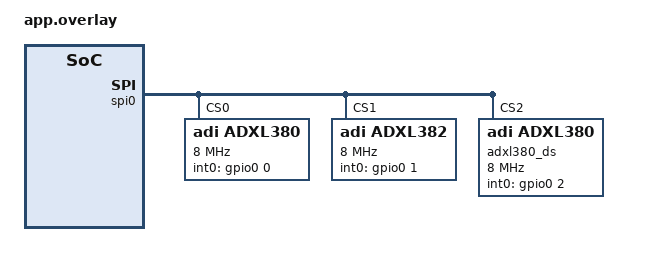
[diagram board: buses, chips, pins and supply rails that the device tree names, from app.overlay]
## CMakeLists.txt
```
# Copyright (c) 2026 Analog Devices Inc.
# SPDX-License-Identifier: Apache-2.0

cmake_minimum_required(VERSION 3.20.0)

find_package(Zephyr REQUIRED HINTS $ENV{ZEPHYR_BASE})
project(adxl38x_test)

target_sources(app PRIVATE
	src/test_init.c
	src/test_decoder.c
	src/test_regs.c
	src/test_convert.c
	src/test_attr.c
	src/test_activity.c
	src/test_pm.c
	src/adxl38x_emul.c
)

# src/ for the emulator header; the driver dir for the private adxl38x.h
# (fifo-data layout + decoder prototype) used by the decoder test.
target_include_directories(app PRIVATE
	src
	${ZEPHYR_BASE}/drivers/sensor/adi/adxl38x
)
```

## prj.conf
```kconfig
# Copyright (c) 2026 Analog Devices Inc.
# SPDX-License-Identifier: Apache-2.0

CONFIG_ZTEST=y
CONFIG_SENSOR=y

# SPI + register-file emulator backend
CONFIG_SPI=y
CONFIG_EMUL=y
CONFIG_SPI_EMUL=y

# Trigger (GPIO interrupt) + RTIO FIFO streaming + decoder
CONFIG_GPIO=y
CONFIG_SENSOR_ASYNC_API=y
CONFIG_SPI_RTIO=y
CONFIG_ADXL38X_STREAM=y

# Power management (TC-PM-001)
CONFIG_PM_DEVICE=y

CONFIG_LOG=y
CONFIG_SENSOR_LOG_LEVEL_WRN=y
```

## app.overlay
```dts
/*
 * Copyright (c) 2026 Analog Devices Inc.
 *
 * SPDX-License-Identifier: Apache-2.0
 */

#include <zephyr/dt-bindings/gpio/gpio.h>
#include <zephyr/dt-bindings/sensor/adxl380.h>
#include <zephyr/dt-bindings/sensor/adxl382.h>

/* native_sim provides gpio0 (gpio_emul) for the trigger line. */
&gpio0 {
	status = "okay";
};

/* native_sim already provides spi0 as a zephyr,spi-emul-controller. */
&spi0 {
	status = "okay";

	adxl380: adxl380@0 {
		compatible = "adi,adxl380";
		reg = <0>;
		spi-max-frequency = <8000000>;
		range = <ADXL380_DT_RANGE_16G>;
		op-mode = <ADXL38X_DT_OP_HP>;
		fifo-watermark = <96>;
		hpf-corner = <ADXL38X_DT_HPF_OFF>;
		int-pol = <ADXL38X_DT_INT_POL_ACTIVE_HIGH>;
		int0-gpios = <&gpio0 0 GPIO_ACTIVE_HIGH>;
	};

	adxl382: adxl382@1 {
		compatible = "adi,adxl382";
		reg = <1>;
		spi-max-frequency = <8000000>;
		range = <ADXL382_DT_RANGE_30G>;
		op-mode = <ADXL38X_DT_OP_HP>;
		fifo-watermark = <96>;
		hpf-corner = <ADXL38X_DT_HPF_OFF>;
		int-pol = <ADXL38X_DT_INT_POL_ACTIVE_HIGH>;
		int0-gpios = <&gpio0 1 GPIO_ACTIVE_HIGH>;
	};

	/* ADXL380 with double-speed enabled, for TC-ATTR-003. */
	adxl380_ds: adxl380@2 {
		compatible = "adi,adxl380";
		reg = <2>;
		spi-max-frequency = <8000000>;
		range = <ADXL380_DT_RANGE_16G>;
		op-mode = <ADXL38X_DT_OP_HP>;
		double-speed = <ADXL38X_DT_DOUBLE_SPEED_ENABLED>;
		int0-gpios = <&gpio0 2 GPIO_ACTIVE_HIGH>;
	};
};
```

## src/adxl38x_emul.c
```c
/*
 * Copyright (c) 2026 Analog Devices Inc.
 *
 * SPDX-License-Identifier: Apache-2.0
 */

/*
 * Register-file SPI emulator backend for the ADXL380/ADXL382 Zephyr driver.
 *
 * The driver frames every access as a 1-byte command (addr << 1 | R/W) followed
 * by the data payload (see adxl38x_reg_access_spi()). This backend decodes that
 * framing against a flat 128-byte register array seeded with the device reset
 * values the driver verifies at init (DEVID_AD=0xAD, PART_ID=0x17,
 * DEVID_MST=0x1D). It binds to both adi,adxl380 and adi,adxl382 instances.
 */

#define DT_DRV_COMPAT adi_adxl380

#include <string.h>

#include <zephyr/device.h>
#include <zephyr/drivers/emul.h>
#include <zephyr/drivers/spi.h>
#include <zephyr/drivers/spi_emul.h>
#include <zephyr/logging/log.h>

#include "adxl38x_emul.h"

LOG_MODULE_REGISTER(adxl38x_emul, CONFIG_SENSOR_LOG_LEVEL);

#define ADXL38X_EMUL_NUM_REGS 0x80U

/* Register addresses and reset values the driver checks during init. */
#define ADXL38X_EMUL_REG_DEVID_AD  0x00U
#define ADXL38X_EMUL_REG_DEVID_MST 0x01U
#define ADXL38X_EMUL_REG_PART_ID   0x02U
#define ADXL38X_EMUL_VAL_DEVID_AD  0xADU
#define ADXL38X_EMUL_VAL_DEVID_MST 0x1DU
#define ADXL38X_EMUL_VAL_PART_ID   0x17U

struct adxl38x_emul_data {
	uint8_t reg[ADXL38X_EMUL_NUM_REGS];
};

uint8_t adxl38x_emul_get_reg(const struct emul *target, uint8_t reg)
{
	struct adxl38x_emul_data *data = target->data;

	if (reg >= ADXL38X_EMUL_NUM_REGS) {
		return 0U;
	}

	return data->reg[reg];
}

void adxl38x_emul_set_reg(const struct emul *target, uint8_t reg, uint8_t val)
{
	struct adxl38x_emul_data *data = target->data;

	if (reg < ADXL38X_EMUL_NUM_REGS) {
		data->reg[reg] = val;
	}
}

static int adxl38x_emul_io(const struct emul *target, const struct spi_config *config,
			   const struct spi_buf_set *tx_bufs, const struct spi_buf_set *rx_bufs)
{
	struct adxl38x_emul_data *data = target->data;
	const struct spi_buf *cmd_buf;
	const struct spi_buf *txd;
	const struct spi_buf *rxd;
	uint8_t cmd;
	uint8_t reg;
	bool read;

	ARG_UNUSED(config);

	/* The driver always issues: [cmd byte][payload] on TX, [skip][payload] on RX. */
	if (tx_bufs == NULL || tx_bufs->count < 2) {
		LOG_ERR("unexpected tx_bufs");
		return -EIO;
	}

	cmd_buf = &tx_bufs->buffers[0];
	txd = &tx_bufs->buffers[1];
	rxd = (rx_bufs != NULL) ? &rx_bufs->buffers[1] : NULL;

	if (cmd_buf->buf == NULL || cmd_buf->len != 1U) {
		LOG_ERR("unexpected command buffer");
		return -EIO;
	}

	cmd = ((const uint8_t *)cmd_buf->buf)[0];
	reg = cmd >> 1;
	read = (cmd & 0x01U) != 0U;

	if (read) {
		if (rxd == NULL || (rxd->len > 0U && rxd->buf == NULL)) {
			LOG_ERR("read without rx buffer");
			return -EIO;
		}
		for (size_t i = 0; i < rxd->len; i++) {
			uint8_t addr = reg + (uint8_t)i;

			((uint8_t *)rxd->buf)[i] =
				(addr < ADXL38X_EMUL_NUM_REGS) ? data->reg[addr] : 0U;
		}
	} else {
		if (txd->len == 0U) {
			return 0;
		}
		if (txd->buf == NULL) {
			LOG_ERR("write without tx payload");
			return -EIO;
		}
		for (size_t i = 0; i < txd->len; i++) {
			uint8_t addr = reg + (uint8_t)i;

			if (addr < ADXL38X_EMUL_NUM_REGS) {
				data->reg[addr] = ((const uint8_t *)txd->buf)[i];
			}
		}
	}

	return 0;
}

static const struct spi_emul_api adxl38x_emul_api = {
	.io = adxl38x_emul_io,
};

static int adxl38x_emul_init(const struct emul *target, const struct device *parent)
{
	struct adxl38x_emul_data *data = target->data;

	ARG_UNUSED(parent);

	memset(data->reg, 0, sizeof(data->reg));
	data->reg[ADXL38X_EMUL_REG_DEVID_AD] = ADXL38X_EMUL_VAL_DEVID_AD;
	data->reg[ADXL38X_EMUL_REG_DEVID_MST] = ADXL38X_EMUL_VAL_DEVID_MST;
	data->reg[ADXL38X_EMUL_REG_PART_ID] = ADXL38X_EMUL_VAL_PART_ID;

	return 0;
}

#define ADXL38X_EMUL_DEFINE(n, pfx)                                                                 \
	static struct adxl38x_emul_data adxl38x_emul_data_##pfx##_##n;                              \
	EMUL_DT_INST_DEFINE(n, adxl38x_emul_init, &adxl38x_emul_data_##pfx##_##n, NULL,             \
			    &adxl38x_emul_api, NULL)

/* adi,adxl380 instances */
#define ADXL380_EMUL_DEFINE(n) ADXL38X_EMUL_DEFINE(n, adxl380)
DT_INST_FOREACH_STATUS_OKAY(ADXL380_EMUL_DEFINE)

/* adi,adxl382 instances */
#undef DT_DRV_COMPAT
#define DT_DRV_COMPAT          adi_adxl382
#define ADXL382_EMUL_DEFINE(n) ADXL38X_EMUL_DEFINE(n, adxl382)
DT_INST_FOREACH_STATUS_OKAY(ADXL382_EMUL_DEFINE)
```

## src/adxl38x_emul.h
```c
/*
 * Copyright (c) 2026 Analog Devices Inc.
 *
 * SPDX-License-Identifier: Apache-2.0
 */

/*
 * Test-local register-file SPI emulator for the ADXL380/ADXL382 driver.
 * Exposes raw register peek/poke so tests can seed inputs and verify what the
 * driver wrote.
 */

#ifndef TESTS_DRIVERS_SENSOR_ADXL38X_EMUL_H_
#define TESTS_DRIVERS_SENSOR_ADXL38X_EMUL_H_

#include <stdint.h>
#include <zephyr/drivers/emul.h>

/** Return the current value of register @p reg in the emulator register file. */
uint8_t adxl38x_emul_get_reg(const struct emul *target, uint8_t reg);

/** Force register @p reg to @p val in the emulator register file. */
void adxl38x_emul_set_reg(const struct emul *target, uint8_t reg, uint8_t val);

#endif /* TESTS_DRIVERS_SENSOR_ADXL38X_EMUL_H_ */
```

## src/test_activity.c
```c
/*
 * Copyright (c) 2026 Analog Devices Inc.
 *
 * SPDX-License-Identifier: Apache-2.0
 */

/*
 * ADXL380/ADXL382 activity-detection tests (Track B, requirement group
 * SRS-F-ACT). Runs on native_sim and native_sim/native/64 against the
 * register-file SPI emulator.
 *
 * Covered here:
 *   TC-ACT-001  activity/inactivity threshold (m/s^2 -> SAR code) (SRS-F-ACT-001)
 *   TC-ACT-002  activity time (us -> 500 us ticks)                (SRS-F-ACT-002)
 *   TC-ACT-003  activity axis enable X/Y/Z                        (SRS-F-ACT-003)
 *
 * Threshold codes depend on the full-scale range, so the threshold test pins the
 * range to 16 g first. code = micro_ms2 * 2048 / (SENSOR_G * fsr_g); at 16 g a
 * 1 g threshold is exactly 128 codes and 8 g is exactly 1024 codes.
 */

#include <errno.h>

#include <zephyr/ztest.h>
#include <zephyr/device.h>
#include <zephyr/drivers/emul.h>
#include <zephyr/drivers/sensor.h>
#include <zephyr/sys/util.h>

#include "adxl38x.h"
#include "adxl38x_emul.h"

#define ADXL380_NODE DT_NODELABEL(adxl380)

static const struct device *const adxl380_dev = DEVICE_DT_GET(ADXL380_NODE);
static const struct emul *const adxl380_emul = EMUL_DT_GET(ADXL380_NODE);

static int attr_set(const struct device *dev, enum sensor_attribute attr, int32_t val1,
		    int32_t val2)
{
	struct sensor_value v = {.val1 = val1, .val2 = val2};

	return sensor_attr_set(dev, SENSOR_CHAN_ACCEL_XYZ, attr, &v);
}

/* TC-ACT-001: threshold in m/s^2 converts to an 11-bit SAR code split across
 * THRESH_*_H[2:0] and THRESH_*_L[7:0]; negative and over-range are rejected.
 */
ZTEST(adxl38x_activity, test_activity_threshold)
{
	/* Pin range to 16 g so the code arithmetic is deterministic. */
	zassert_ok(attr_set(adxl380_dev, SENSOR_ATTR_FULL_SCALE, ADXL380_RANGE_16G_FS, 0),
		   "range set failed");

	/* 1 g = 9.806650 m/s^2 -> code 128 (0x080): H = 0, L = 0x80. */
	zassert_ok(attr_set(adxl380_dev, SENSOR_ATTR_ADXL38X_ACTIVITY_THRESHOLD, 9, 806650),
		   "1 g activity threshold set failed");
	zassert_equal(adxl38x_emul_get_reg(adxl380_emul, ADXL38X_THRESH_ACT_H), 0,
		      "THRESH_ACT_H != 0");
	zassert_equal(adxl38x_emul_get_reg(adxl380_emul, ADXL38X_THRESH_ACT_L), 0x80,
		      "THRESH_ACT_L != 0x80");

	/* 8 g = 78.453200 m/s^2 -> code 1024 (0x400): H = 0x04, L = 0x00. */
	zassert_ok(attr_set(adxl380_dev, SENSOR_ATTR_ADXL38X_ACTIVITY_THRESHOLD, 78, 453200),
		   "8 g activity threshold set failed");
	zassert_equal(adxl38x_emul_get_reg(adxl380_emul, ADXL38X_THRESH_ACT_H), 0x04,
		      "THRESH_ACT_H != 0x04");
	zassert_equal(adxl38x_emul_get_reg(adxl380_emul, ADXL38X_THRESH_ACT_L), 0x00,
		      "THRESH_ACT_L != 0x00");

	/* Inactivity threshold uses its own register pair. */
	zassert_ok(attr_set(adxl380_dev, SENSOR_ATTR_ADXL38X_INACTIVITY_THRESHOLD, 9, 806650),
		   "1 g inactivity threshold set failed");
	zassert_equal(adxl38x_emul_get_reg(adxl380_emul, ADXL38X_THRESH_INACT_H), 0,
		      "THRESH_INACT_H != 0");
	zassert_equal(adxl38x_emul_get_reg(adxl380_emul, ADXL38X_THRESH_INACT_L), 0x80,
		      "THRESH_INACT_L != 0x80");

	/* Negative threshold and a code > 2047 (16 g -> 2048) are rejected. */
	zassert_equal(attr_set(adxl380_dev, SENSOR_ATTR_ADXL38X_ACTIVITY_THRESHOLD, -1, 0), -EINVAL,
		      "negative threshold should fail");
	zassert_equal(attr_set(adxl380_dev, SENSOR_ATTR_ADXL38X_ACTIVITY_THRESHOLD, 156, 906400),
		      -EINVAL, "over-range threshold should fail");
}

/* TC-ACT-002: activity time in microseconds converts to 500 us ticks across the
 * 24-bit TIME_ACT register triple; negative and over-range are rejected.
 */
ZTEST(adxl38x_activity, test_activity_time)
{
	/* 500000 us / 500 = 1000 ticks (0x0003E8): H = 0, M = 0x03, L = 0xE8. */
	zassert_ok(attr_set(adxl380_dev, SENSOR_ATTR_ADXL38X_ACTIVITY_TIME, 0, 500000),
		   "activity time set failed");
	zassert_equal(adxl38x_emul_get_reg(adxl380_emul, ADXL38X_TIME_ACT_H), 0x00,
		      "TIME_ACT_H != 0");
	zassert_equal(adxl38x_emul_get_reg(adxl380_emul, ADXL38X_TIME_ACT_M), 0x03,
		      "TIME_ACT_M != 0x03");
	zassert_equal(adxl38x_emul_get_reg(adxl380_emul, ADXL38X_TIME_ACT_L), 0xE8,
		      "TIME_ACT_L != 0xE8");

	/* Negative time rejected. */
	zassert_equal(attr_set(adxl380_dev, SENSOR_ATTR_ADXL38X_ACTIVITY_TIME, -1, 0), -EINVAL,
		      "negative activity time should fail");

	/* 8388608000 us / 500 = 16777216 ticks > 24-bit max -> rejected. */
	zassert_equal(attr_set(adxl380_dev, SENSOR_ATTR_ADXL38X_ACTIVITY_TIME, 8388, 608000),
		      -EINVAL, "over-range activity time should fail");
}

/* TC-ACT-003: each axis-enable attribute toggles its SNSR_AXIS_EN bit. */
ZTEST(adxl38x_activity, test_activity_axis_enable)
{
	static const struct {
		enum sensor_attribute attr;
		uint8_t bit;
	} axes[] = {
		{SENSOR_ATTR_ADXL38X_ACTIVITY_ENABLE_X, BIT(0)},
		{SENSOR_ATTR_ADXL38X_ACTIVITY_ENABLE_Y, BIT(1)},
		{SENSOR_ATTR_ADXL38X_ACTIVITY_ENABLE_Z, BIT(2)},
	};

	for (size_t i = 0; i < ARRAY_SIZE(axes); i++) {
		zassert_ok(attr_set(adxl380_dev, axes[i].attr, 1, 0), "axis %u enable failed", i);
		zassert_true((adxl38x_emul_get_reg(adxl380_emul, ADXL38X_SNSR_AXIS_EN) & axes[i].bit) !=
				     0,
			     "axis %u enable bit not set", i);

		zassert_ok(attr_set(adxl380_dev, axes[i].attr, 0, 0), "axis %u disable failed", i);
		zassert_equal(adxl38x_emul_get_reg(adxl380_emul, ADXL38X_SNSR_AXIS_EN) & axes[i].bit, 0,
			      "axis %u enable bit not cleared", i);
	}
}

ZTEST_SUITE(adxl38x_activity, NULL, NULL, NULL, NULL, NULL);
```

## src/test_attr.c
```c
/*
 * Copyright (c) 2026 Analog Devices Inc.
 *
 * SPDX-License-Identifier: Apache-2.0
 */

/*
 * ADXL380/ADXL382 attribute tests (Track B, requirement group SRS-F-ATTR).
 * Runs on native_sim and native_sim/native/64 against the register-file SPI
 * emulator, driving the public sensor_attr_set()/sensor_attr_get() API and
 * checking both the returned values and the register bytes the driver wrote.
 *
 * Covered here:
 *   TC-ATTR-001  ODR get/set in DSM mode (sinc_rate / dec2x_bypass) (SRS-F-ATTR-001)
 *   TC-ATTR-002  ODR rejected in SAR mode                           (SRS-F-ATTR-002)
 *   TC-ATTR-003  double-speed ODR multiplier (ADXL380 only)         (SRS-F-ATTR-003)
 *   TC-ATTR-004  full-scale range get/set, per-part validation      (SRS-F-ATTR-004)
 *   TC-ATTR-005  OP_MODE get/set                                    (SRS-F-ATTR-005)
 *   TC-ATTR-006  FIFO watermark                                     (SRS-F-ATTR-006)
 *   TC-ATTR-007  HPF corner                                         (SRS-F-ATTR-007)
 *   TC-ATTR-008  INT polarity                                       (SRS-F-ATTR-008)
 *   TC-ATTR-009  attr_set standby-wrap restore (incl. error path)   (SRS-F-ATTR-009)
 *
 * Each test establishes its own preconditions (op-mode / range), because the
 * device and emulator state persist across tests in a single ztest run.
 *
 * Note on TC-ATTR-009: this exercises the deterministic half of the finding --
 * that attr_set restores the operating mode after both a successful and a failed
 * set, instead of leaving the device stuck in standby. The BUG-002 data race
 * (reconfigure concurrent with an active FIFO stream) is not deterministically
 * reproducible in a single-threaded unit test and is covered on the HW track.
 */

#include <errno.h>

#include <zephyr/ztest.h>
#include <zephyr/device.h>
#include <zephyr/drivers/emul.h>
#include <zephyr/drivers/sensor.h>
#include <zephyr/sys/util.h>

/* Private driver header: register addresses/masks, op-mode enum, DT macros and
 * the SENSOR_ATTR_ADXL38X_* attribute enum (included transitively).
 */
#include "adxl38x.h"
#include "adxl38x_emul.h"

#define ADXL380_NODE    DT_NODELABEL(adxl380)
#define ADXL382_NODE    DT_NODELABEL(adxl382)
#define ADXL380_DS_NODE DT_NODELABEL(adxl380_ds)

static const struct device *const adxl380_dev = DEVICE_DT_GET(ADXL380_NODE);
static const struct device *const adxl382_dev = DEVICE_DT_GET(ADXL382_NODE);
static const struct device *const adxl380_ds_dev = DEVICE_DT_GET(ADXL380_DS_NODE);
static const struct emul *const adxl380_emul = EMUL_DT_GET(ADXL380_NODE);

static int attr_set_i(const struct device *dev, enum sensor_attribute attr, int32_t val1)
{
	struct sensor_value v = {.val1 = val1, .val2 = 0};

	return sensor_attr_set(dev, SENSOR_CHAN_ACCEL_XYZ, attr, &v);
}

static int32_t attr_get_i(const struct device *dev, enum sensor_attribute attr)
{
	struct sensor_value v = {0};

	zassert_ok(sensor_attr_get(dev, SENSOR_CHAN_ACCEL_XYZ, attr, &v), "attr_get %d failed", attr);
	return v.val1;
}

static void set_op_mode(const struct device *dev, int32_t mode)
{
	zassert_ok(attr_set_i(dev, SENSOR_ATTR_ADXL38X_OP_MODE, mode), "op-mode %d set failed", mode);
}

/* TC-ATTR-001: in a DSM mode the ODR maps to the sinc_rate / dec2x_bypass bits
 * of TRIG_CFG, and get returns the effective rate. ADXL380 HP base = 8000 Hz.
 */
ZTEST(adxl38x_attr, test_odr_dsm_roundtrip)
{
	uint8_t trig;

	set_op_mode(adxl380_dev, ADXL38X_HP_MODE);

	/* 16000 Hz = base x2 -> DEC2X_BYPASS set, SINC_RATE clear. */
	zassert_ok(attr_set_i(adxl380_dev, SENSOR_ATTR_SAMPLING_FREQUENCY, 16000),
		   "set 16000 failed");
	trig = adxl38x_emul_get_reg(adxl380_emul, ADXL38X_TRIG_CFG);
	zassert_true((trig & ADXL38X_TRIG_CFG_DEC_2X_BYPASS_MSK) != 0, "DEC2X not set (0x%02x)", trig);
	zassert_true((trig & ADXL38X_TRIG_CFG_SINC_RATE_MSK) == 0, "SINC set (0x%02x)", trig);
	zassert_equal(attr_get_i(adxl380_dev, SENSOR_ATTR_SAMPLING_FREQUENCY), 16000, "get != 16000");

	/* 32000 Hz = base x4 -> SINC_RATE set, DEC2X_BYPASS clear. */
	zassert_ok(attr_set_i(adxl380_dev, SENSOR_ATTR_SAMPLING_FREQUENCY, 32000),
		   "set 32000 failed");
	trig = adxl38x_emul_get_reg(adxl380_emul, ADXL38X_TRIG_CFG);
	zassert_true((trig & ADXL38X_TRIG_CFG_SINC_RATE_MSK) != 0, "SINC not set (0x%02x)", trig);
	zassert_true((trig & ADXL38X_TRIG_CFG_DEC_2X_BYPASS_MSK) == 0, "DEC2X set (0x%02x)", trig);
	zassert_equal(attr_get_i(adxl380_dev, SENSOR_ATTR_SAMPLING_FREQUENCY), 32000, "get != 32000");

	/* 8000 Hz = base -> both bits clear. */
	zassert_ok(attr_set_i(adxl380_dev, SENSOR_ATTR_SAMPLING_FREQUENCY, 8000), "set 8000 failed");
	trig = adxl38x_emul_get_reg(adxl380_emul, ADXL38X_TRIG_CFG);
	zassert_true((trig & (ADXL38X_TRIG_CFG_SINC_RATE_MSK | ADXL38X_TRIG_CFG_DEC_2X_BYPASS_MSK)) ==
			     0,
		     "ODR bits not cleared (0x%02x)", trig);
	zassert_equal(attr_get_i(adxl380_dev, SENSOR_ATTR_SAMPLING_FREQUENCY), 8000, "get != 8000");

	/* Unsupported rate for the mode. */
	zassert_equal(attr_set_i(adxl380_dev, SENSOR_ATTR_SAMPLING_FREQUENCY, 9999), -EINVAL,
		      "9999 Hz should be rejected");
}

/* TC-ATTR-002: ODR is fixed in a SAR mode, so set must report -ENOTSUP. */
ZTEST(adxl38x_attr, test_odr_rejected_in_sar)
{
	set_op_mode(adxl380_dev, ADXL38X_ULTRA_LP_MODE);
	zassert_equal(attr_set_i(adxl380_dev, SENSOR_ATTR_SAMPLING_FREQUENCY, 50), -ENOTSUP,
		      "ODR set in SAR mode should be -ENOTSUP");

	/* Restore a DSM mode for later tests. */
	set_op_mode(adxl380_dev, ADXL38X_HP_MODE);
}

/* TC-ATTR-003: double-speed doubles the effective ODR on the ADXL380 only. */
ZTEST(adxl38x_attr, test_double_speed_odr)
{
	zassert_true(device_is_ready(adxl380_ds_dev), "double-speed node not ready");

	/* Plain ADXL380 at HP base = 8000 Hz. */
	set_op_mode(adxl380_dev, ADXL38X_HP_MODE);
	zassert_ok(attr_set_i(adxl380_dev, SENSOR_ATTR_SAMPLING_FREQUENCY, 8000), "base set failed");
	zassert_equal(attr_get_i(adxl380_dev, SENSOR_ATTR_SAMPLING_FREQUENCY), 8000,
		      "plain ADXL380 ODR != 8000");

	/* Double-speed ADXL380 at HP = 8000 x2 = 16000 Hz. */
	zassert_equal(attr_get_i(adxl380_ds_dev, SENSOR_ATTR_SAMPLING_FREQUENCY), 16000,
		      "double-speed ADXL380 ODR != 16000");

	/* ADXL382 HP base is 16000 Hz; the multiplier never applies to it. */
	set_op_mode(adxl382_dev, ADXL38X_HP_MODE);
	zassert_equal(attr_get_i(adxl382_dev, SENSOR_ATTR_SAMPLING_FREQUENCY), 16000,
		      "ADXL382 ODR != 16000");
}

/* TC-ATTR-004: full-scale range round-trips per part; invalid g is rejected. */
ZTEST(adxl38x_attr, test_range_roundtrip)
{
	zassert_ok(attr_set_i(adxl380_dev, SENSOR_ATTR_FULL_SCALE, ADXL380_RANGE_8G_FS),
		   "380 8g set failed");
	zassert_equal(attr_get_i(adxl380_dev, SENSOR_ATTR_FULL_SCALE), ADXL380_RANGE_8G_FS,
		      "380 range get != 8g");
	zassert_ok(attr_set_i(adxl380_dev, SENSOR_ATTR_FULL_SCALE, ADXL380_RANGE_16G_FS),
		   "380 16g set failed");
	zassert_equal(attr_get_i(adxl380_dev, SENSOR_ATTR_FULL_SCALE), ADXL380_RANGE_16G_FS,
		      "380 range get != 16g");
	zassert_equal(attr_set_i(adxl380_dev, SENSOR_ATTR_FULL_SCALE, 5), -EINVAL,
		      "invalid 380 range should fail");

	zassert_ok(attr_set_i(adxl382_dev, SENSOR_ATTR_FULL_SCALE, ADXL382_RANGE_30G_FS),
		   "382 30g set failed");
	zassert_equal(attr_get_i(adxl382_dev, SENSOR_ATTR_FULL_SCALE), ADXL382_RANGE_30G_FS,
		      "382 range get != 30g");
	zassert_equal(attr_set_i(adxl382_dev, SENSOR_ATTR_FULL_SCALE, 10), -EINVAL,
		      "invalid 382 range should fail");
}

/* TC-ATTR-005: operating mode round-trips; an undefined mode is rejected. */
ZTEST(adxl38x_attr, test_op_mode_roundtrip)
{
	set_op_mode(adxl380_dev, ADXL38X_HP_MODE);
	zassert_equal(attr_get_i(adxl380_dev, SENSOR_ATTR_ADXL38X_OP_MODE), ADXL38X_HP_MODE,
		      "op-mode get != HP");
	zassert_equal(adxl38x_emul_get_reg(adxl380_emul, ADXL38X_OP_MODE) & ADXL38X_OP_MODE_MSK,
		      ADXL38X_HP_MODE, "OP_MODE register field != HP");

	set_op_mode(adxl380_dev, ADXL38X_ULTRA_LP_MODE);
	zassert_equal(attr_get_i(adxl380_dev, SENSOR_ATTR_ADXL38X_OP_MODE), ADXL38X_ULTRA_LP_MODE,
		      "op-mode get != ULP");
	zassert_equal(adxl38x_emul_get_reg(adxl380_emul, ADXL38X_OP_MODE) & ADXL38X_OP_MODE_MSK,
		      ADXL38X_ULTRA_LP_MODE, "OP_MODE register field != ULP");

	/* 5 is not a defined op-mode (reserved gap in the enum). */
	zassert_equal(attr_set_i(adxl380_dev, SENSOR_ATTR_ADXL38X_OP_MODE, 5), -EINVAL,
		      "undefined op-mode should fail");

	set_op_mode(adxl380_dev, ADXL38X_HP_MODE);
}

/* TC-ATTR-006: FIFO watermark splits across FIFO_CFG0[8] / FIFO_CFG1[7:0]; the
 * value must be non-zero, <= 320 and a multiple of 4.
 */
ZTEST(adxl38x_attr, test_fifo_watermark)
{
	zassert_ok(attr_set_i(adxl380_dev, SENSOR_ATTR_ADXL38X_FIFO_WATERMARK, 96),
		   "watermark 96 set failed");
	zassert_equal(attr_get_i(adxl380_dev, SENSOR_ATTR_ADXL38X_FIFO_WATERMARK), 96,
		      "watermark get != 96");
	zassert_equal(adxl38x_emul_get_reg(adxl380_emul, ADXL38X_FIFO_CFG1), 96,
		      "FIFO_CFG1 low byte != 96");
	zassert_equal(adxl38x_emul_get_reg(adxl380_emul, ADXL38X_FIFO_CFG0) &
			      ADXL38X_FIFO_CFG0_SAMPLES_8_MSK,
		      0, "FIFO_CFG0 high bit set unexpectedly");

	/* 320 = 0x140: high bit in FIFO_CFG0, 0x40 in FIFO_CFG1. */
	zassert_ok(attr_set_i(adxl380_dev, SENSOR_ATTR_ADXL38X_FIFO_WATERMARK, 320),
		   "watermark 320 set failed");
	zassert_equal(adxl38x_emul_get_reg(adxl380_emul, ADXL38X_FIFO_CFG1), 0x40,
		      "FIFO_CFG1 low byte != 0x40");
	zassert_true((adxl38x_emul_get_reg(adxl380_emul, ADXL38X_FIFO_CFG0) &
		      ADXL38X_FIFO_CFG0_SAMPLES_8_MSK) != 0,
		     "FIFO_CFG0 high bit not set");

	zassert_equal(attr_set_i(adxl380_dev, SENSOR_ATTR_ADXL38X_FIFO_WATERMARK, 0), -EINVAL,
		      "watermark 0 should fail");
	zassert_equal(attr_set_i(adxl380_dev, SENSOR_ATTR_ADXL38X_FIFO_WATERMARK, 324), -EINVAL,
		      "watermark > 320 should fail");
	zassert_equal(attr_set_i(adxl380_dev, SENSOR_ATTR_ADXL38X_FIFO_WATERMARK, 97), -EINVAL,
		      "watermark not multiple of 4 should fail");
}

/* TC-ATTR-007: HPF corner round-trips; out-of-range is rejected. */
ZTEST(adxl38x_attr, test_hpf_corner)
{
	zassert_ok(attr_set_i(adxl380_dev, SENSOR_ATTR_ADXL38X_HPF_CORNER, ADXL38X_DT_HPF_1_5545e_4),
		   "hpf set failed");
	zassert_equal(attr_get_i(adxl380_dev, SENSOR_ATTR_ADXL38X_HPF_CORNER),
		      ADXL38X_DT_HPF_1_5545e_4, "hpf get mismatch");
	zassert_equal(adxl38x_emul_get_reg(adxl380_emul, ADXL38X_FILTER) &
			      ADXL38X_FILTER_HPF_CORNER_MSK,
		      ADXL38X_DT_HPF_1_5545e_4, "FILTER HPF field mismatch");

	zassert_ok(attr_set_i(adxl380_dev, SENSOR_ATTR_ADXL38X_HPF_CORNER, ADXL38X_DT_HPF_OFF),
		   "hpf off set failed");
	zassert_equal(attr_get_i(adxl380_dev, SENSOR_ATTR_ADXL38X_HPF_CORNER), ADXL38X_DT_HPF_OFF,
		      "hpf get != off");

	zassert_equal(attr_set_i(adxl380_dev, SENSOR_ATTR_ADXL38X_HPF_CORNER, 7), -EINVAL,
		      "hpf corner > max should fail");
	zassert_equal(attr_set_i(adxl380_dev, SENSOR_ATTR_ADXL38X_HPF_CORNER, -1), -EINVAL,
		      "negative hpf corner should fail");
}

/* TC-ATTR-008: interrupt polarity updates both INT0 and INT1 pad registers. */
ZTEST(adxl38x_attr, test_int_pol)
{
	zassert_ok(attr_set_i(adxl380_dev, SENSOR_ATTR_ADXL38X_INT_POL,
			      ADXL38X_DT_INT_POL_ACTIVE_LOW),
		   "int-pol low set failed");
	zassert_equal(attr_get_i(adxl380_dev, SENSOR_ATTR_ADXL38X_INT_POL),
		      ADXL38X_DT_INT_POL_ACTIVE_LOW, "int-pol get != low");
	zassert_true((adxl38x_emul_get_reg(adxl380_emul, ADXL38X_INT0) & ADXL38X_INT_POL_MSK) != 0,
		     "INT0 polarity bit not set");
	zassert_true((adxl38x_emul_get_reg(adxl380_emul, ADXL38X_INT1) & ADXL38X_INT_POL_MSK) != 0,
		     "INT1 polarity bit not set");

	zassert_ok(attr_set_i(adxl380_dev, SENSOR_ATTR_ADXL38X_INT_POL,
			      ADXL38X_DT_INT_POL_ACTIVE_HIGH),
		   "int-pol high set failed");
	zassert_equal(adxl38x_emul_get_reg(adxl380_emul, ADXL38X_INT0) & ADXL38X_INT_POL_MSK, 0,
		      "INT0 polarity bit not cleared");
	zassert_equal(adxl38x_emul_get_reg(adxl380_emul, ADXL38X_INT1) & ADXL38X_INT_POL_MSK, 0,
		      "INT1 polarity bit not cleared");
}

/* TC-ATTR-009: attr_set enters standby, applies the change, and restores the
 * operating mode -- on both the success and the error path. A regression would
 * leave the device stuck in standby.
 */
ZTEST(adxl38x_attr, test_attr_set_restores_op_mode)
{
	set_op_mode(adxl380_dev, ADXL38X_HP_MODE);

	/* Successful set: op-mode must be back to HP, not standby. */
	zassert_ok(attr_set_i(adxl380_dev, SENSOR_ATTR_ADXL38X_HPF_CORNER, ADXL38X_DT_HPF_OFF),
		   "hpf set failed");
	zassert_equal(adxl38x_emul_get_reg(adxl380_emul, ADXL38X_OP_MODE) & ADXL38X_OP_MODE_MSK,
		      ADXL38X_HP_MODE, "op-mode not restored after successful set");

	/* Error path: an invalid value still restores HP. */
	zassert_equal(attr_set_i(adxl380_dev, SENSOR_ATTR_ADXL38X_HPF_CORNER, 7), -EINVAL,
		      "invalid hpf should fail");
	zassert_equal(adxl38x_emul_get_reg(adxl380_emul, ADXL38X_OP_MODE) & ADXL38X_OP_MODE_MSK,
		      ADXL38X_HP_MODE, "op-mode not restored after failed set");
	zassert_equal(attr_get_i(adxl380_dev, SENSOR_ATTR_ADXL38X_OP_MODE), ADXL38X_HP_MODE,
		      "cached op-mode not restored after failed set");
}

/* Restore the devicetree defaults the tests above changed, so the init
 * config-applied checks see the post-boot configuration regardless of the order
 * ztest runs the suites in.
 */
static void attr_teardown(void *fixture)
{
	struct sensor_value v = {.val2 = 0};

	ARG_UNUSED(fixture);

	v.val1 = ADXL380_RANGE_16G_FS;
	(void)sensor_attr_set(adxl380_dev, SENSOR_CHAN_ACCEL_XYZ, SENSOR_ATTR_FULL_SCALE, &v);
	v.val1 = 96;
	(void)sensor_attr_set(adxl380_dev, SENSOR_CHAN_ACCEL_XYZ,
			      SENSOR_ATTR_ADXL38X_FIFO_WATERMARK, &v);
	v.val1 = ADXL38X_DT_HPF_OFF;
	(void)sensor_attr_set(adxl380_dev, SENSOR_CHAN_ACCEL_XYZ, SENSOR_ATTR_ADXL38X_HPF_CORNER, &v);
	v.val1 = ADXL38X_DT_INT_POL_ACTIVE_HIGH;
	(void)sensor_attr_set(adxl380_dev, SENSOR_CHAN_ACCEL_XYZ, SENSOR_ATTR_ADXL38X_INT_POL, &v);
	v.val1 = ADXL38X_HP_MODE;
	(void)sensor_attr_set(adxl380_dev, SENSOR_CHAN_ACCEL_XYZ, SENSOR_ATTR_ADXL38X_OP_MODE, &v);

	v.val1 = ADXL382_RANGE_30G_FS;
	(void)sensor_attr_set(adxl382_dev, SENSOR_CHAN_ACCEL_XYZ, SENSOR_ATTR_FULL_SCALE, &v);
	v.val1 = ADXL38X_HP_MODE;
	(void)sensor_attr_set(adxl382_dev, SENSOR_CHAN_ACCEL_XYZ, SENSOR_ATTR_ADXL38X_OP_MODE, &v);
}

ZTEST_SUITE(adxl38x_attr, NULL, NULL, NULL, NULL, attr_teardown);
```

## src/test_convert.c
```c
/*
 * Copyright (c) 2026 Analog Devices Inc.
 *
 * SPDX-License-Identifier: Apache-2.0
 */

/*
 * ADXL380/ADXL382 conversion tests (Track B, requirement group SRS-F-DATA).
 * Runs on native_sim and native_sim/native/64 against the register-file SPI
 * emulator, exercising the synchronous sensor_sample_fetch()/channel_get() path.
 *
 * Covered here:
 *   TC-DATA-002  accel conversion by range x chip (sensitivity) (SRS-F-DATA-002)
 *   TC-DATA-003  die-temperature conversion                     (SRS-F-DATA-003)
 *
 * Expected values are kept independent of the driver's own arithmetic by seeding
 * a raw sample that is an exact multiple of the per-range sensitivity (LSB/g):
 * raw = k * sensitivity therefore converts to exactly k * SENSOR_G micro-m/s^2,
 * which is hand-verifiable (+1 g = {9, 806650}). A wrong sensitivity table (for
 * example the ADXL380 table applied to the ADXL382) would not yield a clean g.
 */

#include <zephyr/ztest.h>
#include <zephyr/device.h>
#include <zephyr/drivers/emul.h>
#include <zephyr/drivers/sensor.h>
#include <zephyr/sys/util.h>

/* Private driver header: data-register addresses and sensitivity/temp constants. */
#include "adxl38x.h"
#include "adxl38x_emul.h"

#define ADXL380_NODE DT_NODELABEL(adxl380)
#define ADXL382_NODE DT_NODELABEL(adxl382)

static const struct device *const adxl380_dev = DEVICE_DT_GET(ADXL380_NODE);
static const struct device *const adxl382_dev = DEVICE_DT_GET(ADXL382_NODE);
static const struct emul *const adxl380_emul = EMUL_DT_GET(ADXL380_NODE);
static const struct emul *const adxl382_emul = EMUL_DT_GET(ADXL382_NODE);

/* Seed the X/Y/Z data registers (big-endian 16-bit, high byte first). */
static void seed_accel(const struct emul *e, int16_t x, int16_t y, int16_t z)
{
	adxl38x_emul_set_reg(e, ADXL38X_XDATA_H, (uint8_t)((uint16_t)x >> 8));
	adxl38x_emul_set_reg(e, ADXL38X_XDATA_L, (uint8_t)((uint16_t)x & 0xFFU));
	adxl38x_emul_set_reg(e, ADXL38X_YDATA_H, (uint8_t)((uint16_t)y >> 8));
	adxl38x_emul_set_reg(e, ADXL38X_YDATA_L, (uint8_t)((uint16_t)y & 0xFFU));
	adxl38x_emul_set_reg(e, ADXL38X_ZDATA_H, (uint8_t)((uint16_t)z >> 8));
	adxl38x_emul_set_reg(e, ADXL38X_ZDATA_L, (uint8_t)((uint16_t)z & 0xFFU));
}

/* Seed the 12-bit temperature data: TDATA_H holds bits [11:4], TDATA_L[7:4]
 * holds bits [3:0] (see ADXL38X_TEMP_OUTPUT_TDATA_L_MSK).
 */
static void seed_temp(const struct emul *e, uint16_t raw12)
{
	adxl38x_emul_set_reg(e, ADXL38X_TDATA_H, (uint8_t)((raw12 >> 4) & 0xFFU));
	adxl38x_emul_set_reg(e, ADXL38X_TDATA_L, (uint8_t)((raw12 & 0x0FU) << 4));
}

static void check_ms2(const struct sensor_value *v, int64_t micro, const char *tag)
{
	int32_t want1 = (int32_t)(micro / ADXL38X_MICRO_PER_UNIT);
	int32_t want2 = (int32_t)(micro % ADXL38X_MICRO_PER_UNIT);

	zassert_equal(v->val1, want1, "%s: val1 %d != %d", tag, v->val1, want1);
	zassert_equal(v->val2, want2, "%s: val2 %d != %d", tag, v->val2, want2);
}

struct range_case {
	int32_t fs;   /* SENSOR_ATTR_FULL_SCALE value in g */
	int16_t sens; /* sensitivity in LSB/g for that range */
};

/* For each range: set full scale, seed +1 g / -1 g / +2 g (exact multiples of
 * the sensitivity), fetch, and check the converted XYZ values.
 */
static void run_range_cases(const struct device *dev, const struct emul *emul,
			    const struct range_case *cases, size_t n)
{
	for (size_t i = 0; i < n; i++) {
		struct sensor_value fs = {.val1 = cases[i].fs, .val2 = 0};
		int16_t sens = cases[i].sens;
		struct sensor_value v[3];

		zassert_ok(sensor_attr_set(dev, SENSOR_CHAN_ACCEL_XYZ, SENSOR_ATTR_FULL_SCALE, &fs),
			   "FS=%d g set failed", cases[i].fs);

		seed_accel(emul, sens, (int16_t)-sens, (int16_t)(2 * sens));

		zassert_ok(sensor_sample_fetch(dev), "FS=%d g fetch failed", cases[i].fs);
		zassert_ok(sensor_channel_get(dev, SENSOR_CHAN_ACCEL_XYZ, v),
			   "FS=%d g get failed", cases[i].fs);

		check_ms2(&v[0], (int64_t)SENSOR_G, "X(+1g)");
		check_ms2(&v[1], -(int64_t)SENSOR_G, "Y(-1g)");
		check_ms2(&v[2], 2 * (int64_t)SENSOR_G, "Z(+2g)");
	}
}

/* TC-DATA-002: ADXL380 conversion across its three ranges. */
ZTEST(adxl38x_convert, test_accel_convert_adxl380)
{
	static const struct range_case ranges[] = {
		{ADXL380_RANGE_4G_FS, ADXL380_SENSITIVITY_4G},
		{ADXL380_RANGE_8G_FS, ADXL380_SENSITIVITY_8G},
		{ADXL380_RANGE_16G_FS, ADXL380_SENSITIVITY_16G},
	};

	run_range_cases(adxl380_dev, adxl380_emul, ranges, ARRAY_SIZE(ranges));
}

/* TC-DATA-002: ADXL382 uses a different sensitivity table and range codes. */
ZTEST(adxl38x_convert, test_accel_convert_adxl382)
{
	static const struct range_case ranges[] = {
		{ADXL382_RANGE_15G_FS, ADXL382_SENSITIVITY_15G},
		{ADXL382_RANGE_30G_FS, ADXL382_SENSITIVITY_30G},
		{ADXL382_RANGE_60G_FS, ADXL382_SENSITIVITY_60G},
	};

	run_range_cases(adxl382_dev, adxl382_emul, ranges, ARRAY_SIZE(ranges));
}

/* TC-DATA-002: the per-axis channel_get entries convert the right sample. */
ZTEST(adxl38x_convert, test_accel_single_axis_channels)
{
	struct sensor_value fs = {.val1 = ADXL380_RANGE_16G_FS, .val2 = 0};
	int16_t sens = ADXL380_SENSITIVITY_16G;
	struct sensor_value vx, vy, vz;

	zassert_ok(sensor_attr_set(adxl380_dev, SENSOR_CHAN_ACCEL_XYZ, SENSOR_ATTR_FULL_SCALE, &fs),
		   "FS set failed");

	/* X = +1 g, Y = -2 g, Z = +3 g. */
	seed_accel(adxl380_emul, sens, (int16_t)(-2 * sens), (int16_t)(3 * sens));
	zassert_ok(sensor_sample_fetch(adxl380_dev), "fetch failed");

	zassert_ok(sensor_channel_get(adxl380_dev, SENSOR_CHAN_ACCEL_X, &vx), "X get failed");
	zassert_ok(sensor_channel_get(adxl380_dev, SENSOR_CHAN_ACCEL_Y, &vy), "Y get failed");
	zassert_ok(sensor_channel_get(adxl380_dev, SENSOR_CHAN_ACCEL_Z, &vz), "Z get failed");

	check_ms2(&vx, (int64_t)SENSOR_G, "X(+1g)");
	check_ms2(&vy, -2 * (int64_t)SENSOR_G, "Y(-2g)");
	check_ms2(&vz, 3 * (int64_t)SENSOR_G, "Z(+3g)");
}

/* TC-DATA-003: die temperature. T(degC) = 25 + (raw - 550) / 10.2.
 * 550 -> 25.0, 652 (= 550 + 102) -> 35.0, 448 (= 550 - 102) -> 15.0.
 */
ZTEST(adxl38x_convert, test_temp_convert)
{
	struct sensor_value t;

	seed_temp(adxl380_emul, 550U);
	zassert_ok(sensor_sample_fetch(adxl380_dev), "fetch failed");
	zassert_ok(sensor_channel_get(adxl380_dev, SENSOR_CHAN_DIE_TEMP, &t), "temp get failed");
	zassert_equal(t.val1, 25, "25C: val1 %d != 25", t.val1);
	zassert_equal(t.val2, 0, "25C: val2 %d != 0", t.val2);

	seed_temp(adxl380_emul, 652U);
	zassert_ok(sensor_sample_fetch(adxl380_dev), "fetch failed");
	zassert_ok(sensor_channel_get(adxl380_dev, SENSOR_CHAN_DIE_TEMP, &t), "temp get failed");
	zassert_equal(t.val1, 35, "35C: val1 %d != 35", t.val1);
	zassert_equal(t.val2, 0, "35C: val2 %d != 0", t.val2);

	seed_temp(adxl380_emul, 448U);
	zassert_ok(sensor_sample_fetch(adxl380_dev), "fetch failed");
	zassert_ok(sensor_channel_get(adxl380_dev, SENSOR_CHAN_DIE_TEMP, &t), "temp get failed");
	zassert_equal(t.val1, 15, "15C: val1 %d != 15", t.val1);
	zassert_equal(t.val2, 0, "15C: val2 %d != 0", t.val2);
}

/* Restore the devicetree-default ranges so order-independent suites (the init
 * config-applied checks) still see the post-boot configuration.
 */
static void convert_teardown(void *fixture)
{
	struct sensor_value v = {.val2 = 0};

	ARG_UNUSED(fixture);
	v.val1 = ADXL380_RANGE_16G_FS;
	(void)sensor_attr_set(adxl380_dev, SENSOR_CHAN_ACCEL_XYZ, SENSOR_ATTR_FULL_SCALE, &v);
	v.val1 = ADXL382_RANGE_30G_FS;
	(void)sensor_attr_set(adxl382_dev, SENSOR_CHAN_ACCEL_XYZ, SENSOR_ATTR_FULL_SCALE, &v);
}

ZTEST_SUITE(adxl38x_convert, NULL, NULL, NULL, NULL, convert_teardown);
```

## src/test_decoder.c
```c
/*
 * Copyright (c) 2026 Analog Devices Inc.
 *
 * SPDX-License-Identifier: Apache-2.0
 */

/*
 * ADXL380/ADXL382 sensor-decoder tests (Track B, requirement group SRS-F-DEC).
 * Runs on native_sim and native_sim/native/64 against a hand-crafted FIFO buffer
 * (no live streaming needed — the decoder API is exercised directly).
 *
 * Covered here:
 *   TC-DEC-001  get_frame_count: FIFO count + chan_idx!=0 rejection (D2) (SRS-F-DEC-001)
 *   TC-DEC-002  stream decode + *fit continuation (BUG-001 gate)        (SRS-F-DEC-002)
 *
 * BUG-001: adxl38x_decode_stream() stores a pointer in the 32-bit *fit
 * (adxl38x_decoder.c). On a 64-bit host the pointer truncates, so the
 * continuation restarts at frame 0 every call (duplicate frame / never
 * completes). This suite asserts correct continuation, so it is EXPECTED TO
 * FAIL on native_sim/native/64 until BUG-001 is fixed, and to PASS on 32-bit
 * native_sim. The decode loop is bounded so the bug fails cleanly, never hangs.
 */

#include <errno.h>
#include <string.h>

#include <zephyr/ztest.h>
#include <zephyr/device.h>
#include <zephyr/drivers/sensor.h>

/* Private driver header: struct adxl38x_fifo_data layout, STATUS0 masks,
 * ADXL38X_SAMPLE_SIZE, chip/range enums, and adxl38x_get_decoder().
 */
#include "adxl38x.h"

#define ADXL380_NODE DT_NODELABEL(adxl380)

static const struct device *const dev = DEVICE_DT_GET(ADXL380_NODE);

#define N_SAMPLES       4
#define SAMPLE_SET_SIZE 6U /* X, Y, Z * ADXL38X_SAMPLE_SIZE */
#define TEST_ODR        8000U

static uint8_t fifo_buf[sizeof(struct adxl38x_fifo_data) + N_SAMPLES * SAMPLE_SET_SIZE];

/* Build a FIFO buffer: header + N three-axis sample sets with distinct values. */
static void build_fifo(void)
{
	struct adxl38x_fifo_data *hdr = (struct adxl38x_fifo_data *)fifo_buf;
	uint8_t *p = fifo_buf + sizeof(struct adxl38x_fifo_data);

	memset(fifo_buf, 0, sizeof(fifo_buf));
	hdr->is_fifo = 1;
	hdr->timestamp = 1000;
	hdr->status0 = ADXL38X_STATUS0_FIFO_WATERMARK_MSK;
	hdr->range = ADXL380_DT_RANGE_16G;
	hdr->chip_type = ADXL38X_CHIP_ADXL380;
	hdr->accel_odr = TEST_ODR;
	hdr->fifo_samples = N_SAMPLES;
	hdr->fifo_byte_count = N_SAMPLES * SAMPLE_SET_SIZE;
	hdr->sample_set_size = SAMPLE_SET_SIZE;

	for (int i = 0; i < N_SAMPLES; i++) {
		int16_t x = (int16_t)(1000 + i * 100);
		int16_t y = (int16_t)(2000 + i * 100);
		int16_t z = (int16_t)(3000 + i * 100);

		p[0] = (x >> 8) & 0xFF;
		p[1] = x & 0xFF;
		p[2] = (y >> 8) & 0xFF;
		p[3] = y & 0xFF;
		p[4] = (z >> 8) & 0xFF;
		p[5] = z & 0xFF;
		p += SAMPLE_SET_SIZE;
	}
}

static const struct sensor_decoder_api *get_decoder(void)
{
	const struct sensor_decoder_api *decoder = NULL;
	int ret = adxl38x_get_decoder(dev, &decoder);

	zassert_ok(ret, "adxl38x_get_decoder failed: %d", ret);
	zassert_not_null(decoder, "decoder is NULL");
	return decoder;
}

/* TC-DEC-001: FIFO frame count equals the stored sample count, and a non-zero
 * channel index is rejected so an iterating consumer terminates (D2 guard).
 */
ZTEST(adxl38x_decoder, test_frame_count)
{
	const struct sensor_decoder_api *decoder = get_decoder();
	struct sensor_chan_spec chan = {.chan_type = SENSOR_CHAN_ACCEL_XYZ, .chan_idx = 0};
	uint16_t fc = 0;

	build_fifo();

	zassert_ok(decoder->get_frame_count(fifo_buf, chan, &fc), "get_frame_count failed");
	zassert_equal(fc, N_SAMPLES, "frame count %u != %u", fc, N_SAMPLES);

	chan.chan_idx = 1;
	zassert_equal(decoder->get_frame_count(fifo_buf, chan, &fc), -ENOTSUP,
		      "chan_idx != 0 must be rejected (D2 regression)");
}

/* TC-DEC-002 (BUG-001 gate): decode one frame per call; a correct driver yields
 * N distinct frames with strictly increasing timestamp_delta, then returns 0.
 * The pointer-in-uint32_t *fit truncation duplicates frame 0 on 64-bit, which
 * the bounded loop + monotonicity check turn into a clean failure.
 */
ZTEST(adxl38x_decoder, test_stream_decode_continuation)
{
	const struct sensor_decoder_api *decoder = get_decoder();
	struct sensor_chan_spec chan = {.chan_type = SENSOR_CHAN_ACCEL_XYZ, .chan_idx = 0};
	struct sensor_three_axis_data out;
	uint32_t fit = 0;
	uint32_t last_delta = 0;
	int total = 0;

	build_fifo();

	for (int guard = 0; guard < N_SAMPLES + 8; guard++) {
		int c = decoder->decode(fifo_buf, chan, &fit, 1, &out);

		if (c == 0) {
			break;
		}
		zassert_equal(c, 1, "decode returned %d, expected 1 per call", c);

		uint32_t delta = out.readings[0].timestamp_delta;

		if (total > 0) {
			zassert_true(delta > last_delta,
				     "frame %d timestamp_delta %u not > previous %u "
				     "— duplicate frame (BUG-001 *fit truncation)",
				     total, delta, last_delta);
		}
		last_delta = delta;
		total++;
	}

	zassert_equal(total, N_SAMPLES,
		      "decoded %d frames, expected %d — *fit continuation broken "
		      "(BUG-001 pointer truncation on 64-bit)",
		      total, N_SAMPLES);
}

ZTEST_SUITE(adxl38x_decoder, NULL, NULL, NULL, NULL, NULL);
```

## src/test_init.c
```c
/*
 * Copyright (c) 2026 Analog Devices Inc.
 *
 * SPDX-License-Identifier: Apache-2.0
 */

/*
 * ADXL380/ADXL382 driver initialization tests (Track B, requirement group
 * SRS-F-INIT). Runs on native_sim and native_sim/native/64 against the
 * register-file SPI emulator.
 *
 * Covered here:
 *   TC-INIT-001  Device-ID check passes -> device becomes ready (SRS-F-INIT-001)
 *   TC-INIT-003  Soft reset issued (RESET register holds 0x52)   (SRS-F-INIT-003)
 *   TC-INIT-004  Devicetree config applied to registers          (SRS-F-INIT-004)
 *
 * TODO (next increment): TC-INIT-002 (D1 power-on ID retry) and the -ENODEV
 * negative path need a stateful emulator that returns wrong IDs for the first N
 * reads; add once the emulator grows a per-access counter.
 */

#include <zephyr/ztest.h>
#include <zephyr/device.h>
#include <zephyr/drivers/sensor.h>
#include <zephyr/drivers/emul.h>

#include "adxl38x_emul.h"

#define ADXL380_NODE DT_NODELABEL(adxl380)
#define ADXL382_NODE DT_NODELABEL(adxl382)

/* ADXL38X register addresses used for config read-back (datasheet / driver). */
#define REG_OP_MODE   0x26U
#define REG_DIG_EN    0x27U
#define REG_REG_RESET 0x2AU
#define REG_FIFO_CFG0 0x30U
#define REG_FIFO_CFG1 0x31U
#define REG_FILTER    0x50U
#define REG_INT0      0x5DU
#define REG_INT1      0x5EU

#define RESET_CODE       0x52U
#define OP_MODE_HP       0x0CU /* ADXL38X_DT_OP_HP */
#define RANGE_MSK        0xC0U /* OP_MODE[7:6] */
#define OP_MODE_LOW_MSK  0x0FU /* OP_MODE[3:0] */
#define HPF_CORNER_MSK   0x07U /* FILTER[2:0] */
#define INT_POL_MSK      0x80U /* INTx[7] */
/* X,Y,Z,TEMP channels enabled; streaming also sets the FIFO_EN bit (0x08). */
#if defined(CONFIG_ADXL38X_STREAM)
#define DIG_EN_XYZ_TEMP  0xF8U
#else
#define DIG_EN_XYZ_TEMP  0xF0U
#endif
#define FIFO_WATERMARK   96U   /* overlay value; low byte lands in FIFO_CFG1 */

static const struct device *const adxl380_dev = DEVICE_DT_GET(ADXL380_NODE);
static const struct device *const adxl382_dev = DEVICE_DT_GET(ADXL382_NODE);
static const struct emul *const adxl380_emul = EMUL_DT_GET(ADXL380_NODE);
static const struct emul *const adxl382_emul = EMUL_DT_GET(ADXL382_NODE);

/* TC-INIT-001: init only completes (device ready) if the device-ID check,
 * soft reset, configure and set_op_mode all succeeded against the emulator.
 */
ZTEST(adxl38x_init, test_devices_ready)
{
	zassert_true(device_is_ready(adxl380_dev), "ADXL380 device not ready");
	zassert_true(device_is_ready(adxl382_dev), "ADXL382 device not ready");
}

/* TC-INIT-003: the driver writes the soft-reset code to the RESET register. */
ZTEST(adxl38x_init, test_soft_reset_issued)
{
	zassert_equal(adxl38x_emul_get_reg(adxl380_emul, REG_REG_RESET), RESET_CODE,
		      "ADXL380 soft reset code not written");
	zassert_equal(adxl38x_emul_get_reg(adxl382_emul, REG_REG_RESET), RESET_CODE,
		      "ADXL382 soft reset code not written");
}

/* TC-INIT-004: devicetree defaults land in the right register fields.
 * ADXL380 overlay: range = 16 g (code 2), op-mode = HP (12).
 * OP_MODE = (2 << 6) | 12 = 0x8C.
 */
ZTEST(adxl38x_init, test_config_applied_adxl380)
{
	uint8_t op_mode = adxl38x_emul_get_reg(adxl380_emul, REG_OP_MODE);

	zassert_equal(op_mode & RANGE_MSK, 2U << 6, "ADXL380 range field wrong (0x%02x)", op_mode);
	zassert_equal(op_mode & OP_MODE_LOW_MSK, OP_MODE_HP, "ADXL380 op-mode field wrong (0x%02x)",
		      op_mode);
	zassert_equal(adxl38x_emul_get_reg(adxl380_emul, REG_DIG_EN), DIG_EN_XYZ_TEMP,
		      "ADXL380 channels not enabled");
	zassert_equal(adxl38x_emul_get_reg(adxl380_emul, REG_FIFO_CFG1), FIFO_WATERMARK,
		      "ADXL380 FIFO watermark low byte wrong");
	zassert_equal(adxl38x_emul_get_reg(adxl380_emul, REG_FIFO_CFG0) & 0x01U, 0U,
		      "ADXL380 FIFO watermark high bit set unexpectedly");
	zassert_equal(adxl38x_emul_get_reg(adxl380_emul, REG_FILTER) & HPF_CORNER_MSK, 0U,
		      "ADXL380 HPF corner should be off");
	zassert_equal(adxl38x_emul_get_reg(adxl380_emul, REG_INT0) & INT_POL_MSK, 0U,
		      "ADXL380 INT0 polarity should be active-high");
	zassert_equal(adxl38x_emul_get_reg(adxl380_emul, REG_INT1) & INT_POL_MSK, 0U,
		      "ADXL380 INT1 polarity should be active-high");
}

/* ADXL382 overlay: range = 30 g (code 1), op-mode = HP (12).
 * OP_MODE = (1 << 6) | 12 = 0x4C. Sensitivity/range table differs per part.
 */
ZTEST(adxl38x_init, test_config_applied_adxl382)
{
	uint8_t op_mode = adxl38x_emul_get_reg(adxl382_emul, REG_OP_MODE);

	zassert_equal(op_mode & RANGE_MSK, 1U << 6, "ADXL382 range field wrong (0x%02x)", op_mode);
	zassert_equal(op_mode & OP_MODE_LOW_MSK, OP_MODE_HP, "ADXL382 op-mode field wrong (0x%02x)",
		      op_mode);
	zassert_equal(adxl38x_emul_get_reg(adxl382_emul, REG_DIG_EN), DIG_EN_XYZ_TEMP,
		      "ADXL382 channels not enabled");
}

ZTEST_SUITE(adxl38x_init, NULL, NULL, NULL, NULL, NULL);
```

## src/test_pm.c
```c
/*
 * Copyright (c) 2026 Analog Devices Inc.
 *
 * SPDX-License-Identifier: Apache-2.0
 */

/*
 * ADXL380/ADXL382 power-management test (Track B, requirement group SRS-F-PM).
 * Runs on native_sim and native_sim/native/64 against the register-file SPI
 * emulator. Requires CONFIG_PM_DEVICE=y.
 *
 * Covered here:
 *   TC-PM-001  PM_DEVICE suspend -> STANDBY, resume -> configured op-mode
 *              (SRS-F-PM-001)
 */

#include <zephyr/ztest.h>
#include <zephyr/device.h>
#include <zephyr/drivers/emul.h>
#include <zephyr/pm/device.h>

#include "adxl38x.h"
#include "adxl38x_emul.h"

#define ADXL380_NODE DT_NODELABEL(adxl380)

static const struct device *const adxl380_dev = DEVICE_DT_GET(ADXL380_NODE);
static const struct emul *const adxl380_emul = EMUL_DT_GET(ADXL380_NODE);

/* TC-PM-001: suspend drives OP_MODE to standby; resume restores the devicetree
 * operating mode (HP for this overlay).
 */
ZTEST(adxl38x_pm, test_suspend_resume)
{
	zassert_ok(pm_device_action_run(adxl380_dev, PM_DEVICE_ACTION_SUSPEND), "suspend failed");
	zassert_equal(adxl38x_emul_get_reg(adxl380_emul, ADXL38X_OP_MODE) & ADXL38X_OP_MODE_MSK,
		      ADXL38X_STANDBY_MODE, "suspend did not enter standby");

	zassert_ok(pm_device_action_run(adxl380_dev, PM_DEVICE_ACTION_RESUME), "resume failed");
	zassert_equal(adxl38x_emul_get_reg(adxl380_emul, ADXL38X_OP_MODE) & ADXL38X_OP_MODE_MSK,
		      ADXL38X_HP_MODE, "resume did not restore the configured op-mode");
}

ZTEST_SUITE(adxl38x_pm, NULL, NULL, NULL, NULL, NULL);
```
